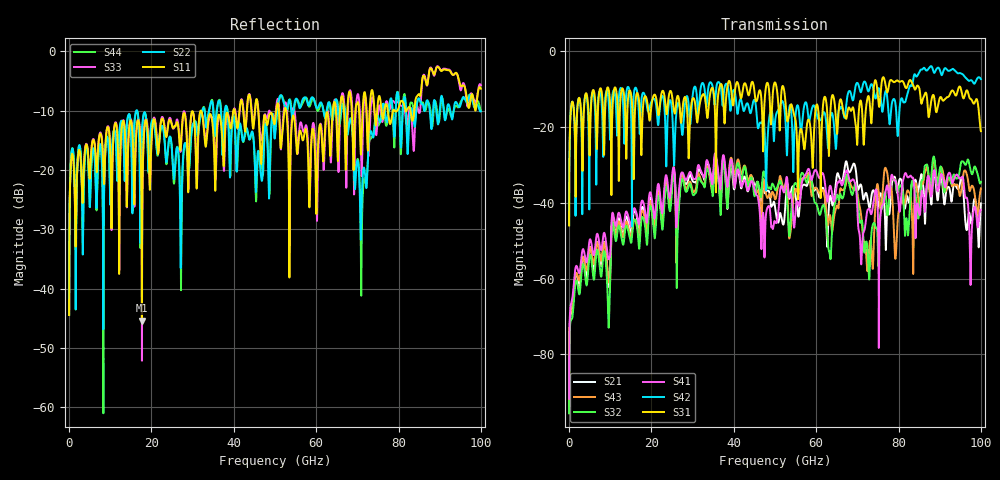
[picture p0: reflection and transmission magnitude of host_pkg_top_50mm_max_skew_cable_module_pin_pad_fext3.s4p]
# Hz S RI R 50
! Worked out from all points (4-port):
!   10000 points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, 10 MHz to 100 GHz, reference 50 ohm
!   strongest paths, dB at 10 MHz, 25.01 GHz, 50.01 GHz, 75.01 GHz, 100 GHz:
!     S31: -46.0, -11.9, -8.4, -12.0, -21.2
!     S42: -45.9, -16.0, -18.9, -10.1, -7.5
!     S41: -91.7, -33.1, -45.0, -44.2, -41.9
!     S32: -95.5, -36.3, -36.6, -53.6, -34.5
!     S43: -93.4, -35.0, -39.1, -35.6, -36.3
!     S21: -93.6, -34.5, -41.1, -41.4, -40.2
!   lowest |S11| = -45.4 dB at 17.68 GHz (marker M1), VSWR 1.01, Z = 49.8 + j0.508 ohm
!   |S11| at or under -10 dB: start of sweep to 31.97 GHz; 32.01 GHz to 39.89 GHz (7.872 GHz wide, 21.9 % of centre); 52.72 GHz to 64.04 GHz (11.32 GHz wide, 19.4 % of centre)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
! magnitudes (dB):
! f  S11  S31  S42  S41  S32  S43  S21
! 10 MHz  -44.5  -46.0  -45.9  -91.7  -95.5  -93.4  -93.6
! 780 MHz  -17.3  -13.4  -13.4  -65.2  -70.3  -67.0  -68.5
! 17.68 GHz  -45.4  -22.2  -12.0  -39.5  -44.0  -42.1  -41.3
! 67.55 GHz  -10.4  -16.6  -12.1  -31.7  -32.9  -33.4  -30.1
! 72.78 GHz  -13.3  -12.1  -10.6  -41.6  -59.0  -53.6  -40.7
! 76.87 GHz  -9.0  -9.2  -10.6  -37.0  -37.9  -30.9  -51.1
! 100 GHz  -6.3  -21.2  -7.5  -41.9  -34.5  -36.3  -40.2
